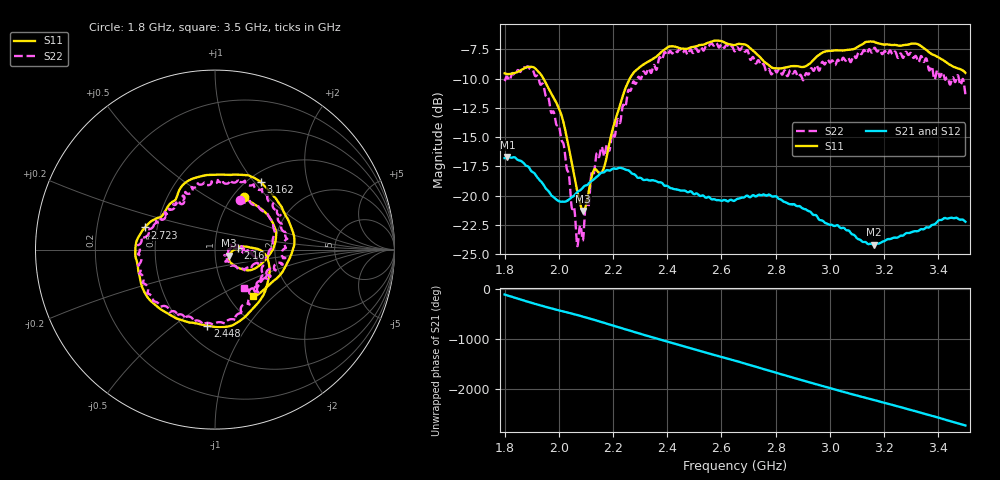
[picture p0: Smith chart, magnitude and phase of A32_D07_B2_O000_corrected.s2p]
! Created with skrf 1.9.0 (http://scikit-rf.org).
# Hz S RI R 50.0
!freq ReS11 ImS11 ReS21 ImS21 ReS12 ImS12 ReS22 ImS22
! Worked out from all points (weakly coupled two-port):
!   1601 points, 1.8 GHz to 3.5 GHz, reference 50 ohm
!   highest |S21| = -16.69 dB at 1.811 GHz (marker M1); lowest = -24.2 dB at 3.162 GHz (marker M2)
!   lowest |S11| = -21.3 dB at 2.09 GHz (marker M3), VSWR 1.19, Z = 58.5 - j3.93 ohm
!   |S11| at or under -10 dB: 1.943 GHz to 2.262 GHz (318.5 MHz wide, 15.1 % of centre)
!   |S22| runs from -24.3 to -6.9 dB; largest |S21 - S12| = 0.0026
!   S11 on the Smith chart (normalised r, x): 1.8 GHz: 1.12, +0.74; 2.16 GHz: 1.29, +0.02; 2.448 GHz: 0.65, -0.67; 2.723 GHz: 0.43, +0.13; 3.162 GHz: 1.14, +1.08; 3.5 GHz: 1.28, -0.75
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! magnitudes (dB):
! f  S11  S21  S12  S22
! 1.8 GHz  -9.6  -16.8  -16.8  -10.2
! 1.811 GHz  -9.6  -16.7  -16.7  -9.9
! 1.884 GHz  -9.0  -17.5  -17.5  -9.0
! 1.941 GHz  -9.9  -19.0  -19.0  -10.5
! 2.011 GHz  -13.3  -20.5  -20.5  -15.4
! 2.066 GHz  -19.4  -19.8  -19.8  -23.9
! 2.084 GHz  -21.1  -19.5  -19.4  -23.1
! 2.09 GHz  -21.3  -19.3  -19.3  -23.7
! 2.128 GHz  -17.9  -18.6  -18.6  -18.2
! 2.16 GHz  -18.0  -18.0  -18.0  -15.9
! 2.188 GHz  -15.4  -17.9  -17.9  -16.1
! 2.258 GHz  -10.2  -17.9  -17.9  -11.0
! 2.367 GHz  -8.0  -18.9  -18.8  -8.5
! 2.448 GHz  -7.4  -19.6  -19.6  -7.5
! 2.65 GHz  -7.1  -20.4  -20.4  -7.7
! 2.723 GHz  -7.8  -20.1  -20.0  -8.6
! 2.796 GHz  -9.1  -20.1  -20.1  -9.2
! 2.934 GHz  -8.6  -21.5  -21.5  -9.1
! 3.162 GHz  -6.8  -24.2  -24.1  -7.4
! 3.217 GHz  -7.1  -23.7  -23.7  -7.7
! 3.323 GHz  -7.0  -23.1  -23.0  -8.4
! 3.5 GHz  -9.5  -22.2  -22.2  -11.4
